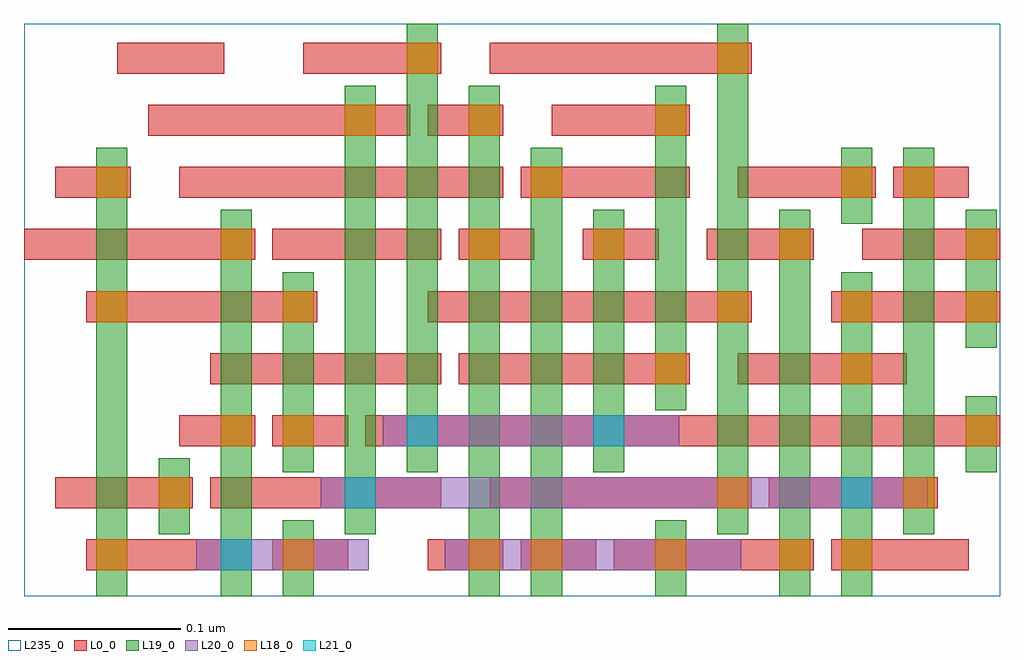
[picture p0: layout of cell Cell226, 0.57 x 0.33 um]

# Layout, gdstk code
import gdstk
lib = gdstk.Library(unit=1e-6, precision=2.5e-10)
def R(c, l, rs):  # rectangles x0, y0, x1, y1
    for r in rs: c.add(gdstk.rectangle(r[:2], r[2:], *l))
def A(c, l, x, y, w, h, nx, ny, dx, dy):  # array of equal rectangles
    R(c, l, [(x+i*dx, y+j*dy, x+i*dx+w, y+j*dy+h) for i in range(nx) for j in range(ny)])
L0_0 = (0, 0)
L18_0 = (18, 0)
L19_0 = (19, 0)
L20_0 = (20, 0)
L21_0 = (21, 0)
L235_0 = (235, 0)

cell226 = lib.new_cell('Cell226')
R(cell226, L0_0, [(0.04,-0.001,0.12,0.017), (0.148,-0.001,0.192,0.017), (0.238,-0.001,0.282,0.017), (0.292,-0.001,0.336,0.017), (0.346,-0.001,0.462,0.017), (0.472,-0.001,0.552,0.017), (0.022,0.035,0.102,0.053), (0.112,0.035,0.246,0.053), (0.274,0.035,0.426,0.053), (0.436,0.035,0.534,0.053), (0.094,0.071,0.138,0.089), (0.148,0.071,0.192,0.089), (0.202,0.071,0.57,0.089), (0.112,0.107,0.246,0.125), (0.256,0.107,0.39,0.125), (0.418,0.107,0.516,0.125), (0.04,0.143,0.174,0.161), (0.238,0.143,0.426,0.161), (0.472,0.143,0.57,0.161), (0.004,0.179,0.138,0.197), (0.148,0.179,0.246,0.197), (0.256,0.179,0.3,0.197), (0.328,0.179,0.372,0.197), (0.4,0.179,0.462,0.197), (0.49,0.179,0.57,0.197), (0.022,0.215,0.066,0.233), (0.094,0.215,0.282,0.233), (0.292,0.215,0.39,0.233), (0.418,0.215,0.498,0.233), (0.508,0.215,0.552,0.233), (0.076,0.251,0.228,0.269), (0.238,0.251,0.282,0.269), (0.31,0.251,0.39,0.269), (0.058,0.287,0.12,0.305), (0.166,0.287,0.246,0.305), (0.274,0.287,0.426,0.305)])
A(cell226, L18_0, 0.046, -0.001, 0.018, 0.018, 3, 1, 0.108, 0)
A(cell226, L18_0, 0.298, -0.001, 0.018, 0.018, 3, 1, 0.072, 0)
A(cell226, L18_0, 0.478, -0.001, 0.018, 0.018, 1, 3, 0, 0.108)
A(cell226, L18_0, 0.406, 0.143, 0.018, 0.018, 3, 1, 0.072, 0)
A(cell226, L18_0, 0.334, 0.179, 0.018, 0.018, 3, 1, 0.108, 0)
R(cell226, L18_0, [(0.082,0.035,0.1,0.053), (0.406,0.035,0.424,0.053), (0.514,0.035,0.532,0.053), (0.118,0.071,0.136,0.089), (0.154,0.071,0.172,0.089), (0.55,0.071,0.568,0.089), (0.37,0.107,0.388,0.125), (0.046,0.143,0.064,0.161), (0.154,0.143,0.172,0.161), (0.118,0.179,0.136,0.197), (0.262,0.179,0.28,0.197), (0.046,0.215,0.064,0.233), (0.298,0.215,0.316,0.233), (0.514,0.215,0.532,0.233), (0.19,0.251,0.208,0.269), (0.262,0.251,0.28,0.269), (0.37,0.251,0.388,0.269), (0.226,0.287,0.244,0.305), (0.406,0.287,0.424,0.305)])
R(cell226, L19_0, [(0.046,-0.016,0.064,0.244), (0.118,-0.016,0.136,0.208), (0.154,-0.016,0.172,0.028), (0.262,-0.016,0.28,0.28), (0.298,-0.016,0.316,0.244), (0.37,-0.016,0.388,0.028), (0.442,-0.016,0.46,0.208), (0.478,-0.016,0.496,0.172), (0.082,0.02,0.1,0.064), (0.19,0.02,0.208,0.28), (0.406,0.02,0.424,0.316), (0.514,0.02,0.532,0.244), (0.154,0.056,0.172,0.172), (0.226,0.056,0.244,0.316), (0.334,0.056,0.352,0.208), (0.55,0.056,0.568,0.1), (0.37,0.092,0.388,0.28), (0.55,0.128,0.568,0.208), (0.478,0.2,0.496,0.244)])
R(cell226, L20_0, [(0.104,-0.001,0.204,0.017), (0.248,-0.001,0.42,0.017), (0.176,0.035,0.528,0.053), (0.212,0.071,0.384,0.089)])
R(cell226, L21_0, [(0.118,-0.001,0.136,0.017), (0.19,0.035,0.208,0.053), (0.478,0.035,0.496,0.053), (0.226,0.071,0.244,0.089), (0.334,0.071,0.352,0.089)])
R(cell226, L235_0, [(0.004,-0.016,0.57,0.316)])

lib.write_gds('Cell226.gds')
